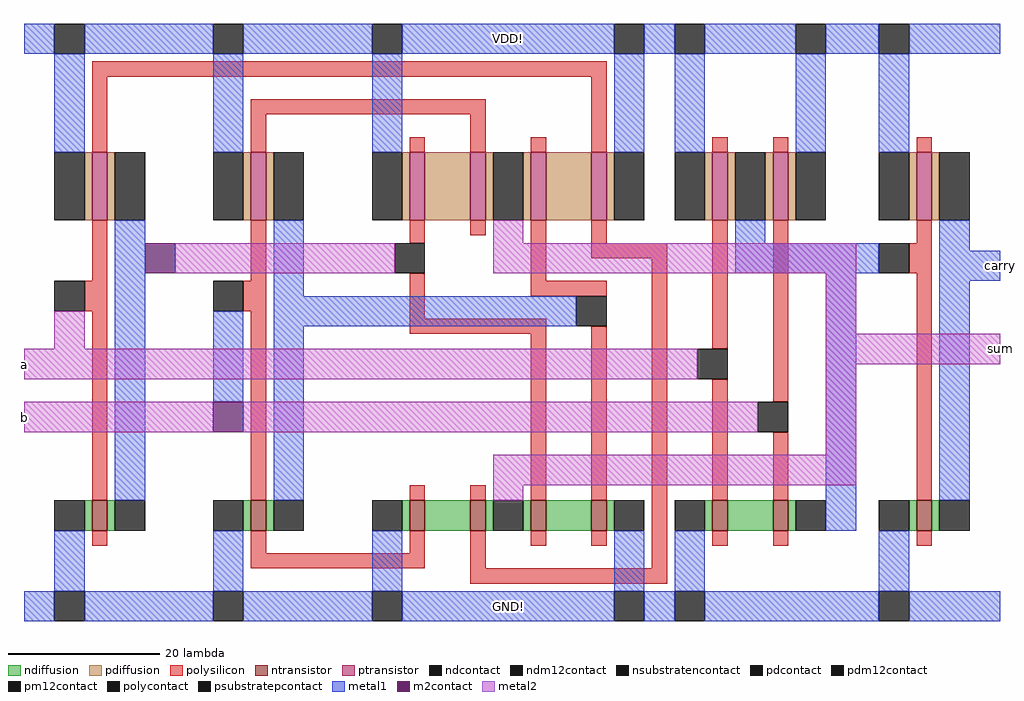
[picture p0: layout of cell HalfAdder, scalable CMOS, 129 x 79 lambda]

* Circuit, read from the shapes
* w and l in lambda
.subckt HalfAdder GND! VDD! a b carry sum
M1 n1 a GND! GND! nfet w=4 l=2
M2 n2 b GND! GND! nfet w=4 l=2
M3 n3 b GND! GND! nfet w=4 l=2
M4 sum a n3 GND! nfet w=4 l=2
M5 n4 n1 sum GND! nfet w=4 l=2
M6 GND! n2 n4 GND! nfet w=4 l=2
M7 n5 a GND! GND! nfet w=4 l=2
M8 n6 b n5 GND! nfet w=4 l=2
M9 carry n6 GND! GND! nfet w=4 l=2
M10 n1 a VDD! VDD! pfet w=9 l=2
M11 n2 b VDD! VDD! pfet w=9 l=2
M12 n7 n1 VDD! VDD! pfet w=9 l=2
M13 sum b n7 VDD! pfet w=9 l=2
M14 n8 n2 sum VDD! pfet w=9 l=2
M15 VDD! a n8 VDD! pfet w=9 l=2
M16 n6 a VDD! VDD! pfet w=9 l=2
M17 VDD! b n6 VDD! pfet w=9 l=2
M18 carry n6 VDD! VDD! pfet w=9 l=2
.ends

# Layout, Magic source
magic
tech scmos
<< ntransistor >>
rect -23 0 -21 4
rect -2 0 0 4
rect 19 0 21 4
rect 27 0 29 4
rect 35 0 37 4
rect 43 0 45 4
rect 59 0 61 4
rect 67 0 69 4
rect 86 0 88 4
<< ptransistor >>
rect -23 41 -21 50
rect -2 41 0 50
rect 19 41 21 50
rect 27 41 29 50
rect 35 41 37 50
rect 43 41 45 50
rect 59 41 61 50
rect 67 41 69 50
rect 86 41 88 50
<< ndiffusion >>
rect -24 0 -23 4
rect -21 0 -20 4
rect -3 0 -2 4
rect 0 0 1 4
rect 18 0 19 4
rect 21 0 27 4
rect 29 0 30 4
rect 34 0 35 4
rect 37 0 43 4
rect 45 0 46 4
rect 58 0 59 4
rect 61 0 67 4
rect 69 0 70 4
rect 85 0 86 4
rect 88 0 89 4
<< pdiffusion >>
rect -24 41 -23 50
rect -21 41 -20 50
rect -3 41 -2 50
rect 0 41 1 50
rect 18 41 19 50
rect 21 41 27 50
rect 29 41 30 50
rect 34 41 35 50
rect 37 41 43 50
rect 45 41 46 50
rect 58 41 59 50
rect 61 41 62 50
rect 66 41 67 50
rect 69 41 70 50
rect 85 41 86 50
rect 88 41 89 50
<< ndcontact >>
rect -28 0 -24 4
rect -20 0 -16 4
rect -7 0 -3 4
rect 1 0 5 4
rect 14 0 18 4
rect 46 0 50 4
rect 54 0 58 4
rect 70 0 74 4
rect 81 0 85 4
rect 89 0 93 4
<< pdcontact >>
rect -28 41 -24 50
rect -20 41 -16 50
rect -7 41 -3 50
rect 1 41 5 50
rect 14 41 18 50
rect 46 41 50 50
rect 54 41 58 50
rect 62 41 66 50
rect 70 41 74 50
rect 81 41 85 50
rect 89 41 93 50
<< psubstratepcontact >>
rect -28 -12 -24 -8
rect -7 -12 -3 -8
rect 14 -12 18 -8
rect 46 -12 50 -8
rect 54 -12 58 -8
rect 81 -12 85 -8
<< nsubstratencontact >>
rect -28 63 -24 67
rect -7 63 -3 67
rect 14 63 18 67
rect 46 63 50 67
rect 54 63 58 67
rect 70 63 74 67
rect 81 63 85 67
<< polysilicon >>
rect -23 60 45 62
rect -23 50 -21 60
rect -2 55 29 57
rect -2 50 0 55
rect 19 50 21 52
rect 27 50 29 55
rect 35 50 37 52
rect 43 50 45 60
rect 59 50 61 52
rect 67 50 69 52
rect 86 50 88 52
rect -23 33 -21 41
rect -2 33 0 41
rect 19 38 21 41
rect 27 39 29 41
rect -24 29 -21 33
rect -3 29 0 33
rect -23 4 -21 29
rect -2 4 0 29
rect 19 28 21 34
rect 35 33 37 41
rect 43 38 45 41
rect 43 36 53 38
rect 35 31 45 33
rect 19 26 37 28
rect 19 4 21 6
rect 27 4 29 6
rect 35 4 37 26
rect 43 4 45 27
rect -23 -2 -21 0
rect -2 -3 0 0
rect 19 -3 21 0
rect -2 -5 21 -3
rect 27 -5 29 0
rect 35 -2 37 0
rect 43 -2 45 0
rect 51 -5 53 36
rect 59 24 61 41
rect 59 4 61 20
rect 67 17 69 41
rect 86 38 88 41
rect 85 34 88 38
rect 67 4 69 13
rect 86 4 88 34
rect 59 -2 61 0
rect 67 -2 69 0
rect 86 -2 88 0
rect 27 -7 53 -5
<< polycontact >>
rect -7 29 -3 33
rect 41 27 45 31
rect 81 34 85 38
<< metal1 >>
rect -32 63 -28 67
rect -24 63 -7 67
rect -3 63 14 67
rect 18 63 46 67
rect 50 63 54 67
rect 58 63 70 67
rect 74 63 81 67
rect 85 63 97 67
rect -28 50 -24 63
rect -7 50 -3 63
rect 14 50 18 63
rect 46 50 50 63
rect 54 50 58 63
rect 70 50 74 63
rect 81 50 85 63
rect -20 4 -16 41
rect -7 17 -3 29
rect 1 31 5 41
rect 62 38 66 41
rect 62 34 81 38
rect 89 37 93 41
rect 1 27 41 31
rect 1 4 5 27
rect -28 -8 -24 0
rect -7 -8 -3 0
rect 14 -8 18 0
rect 46 -8 50 0
rect 74 0 78 34
rect 89 33 97 37
rect 89 4 93 33
rect 54 -8 58 0
rect 81 -8 85 0
rect -32 -12 -28 -8
rect -24 -12 -7 -8
rect -3 -12 14 -8
rect 18 -12 46 -8
rect 50 -12 54 -8
rect 58 -12 81 -8
rect 85 -12 97 -8
<< m2contact >>
rect -16 34 -12 38
rect -7 13 -3 17
<< pm12contact >>
rect -28 29 -24 33
rect 17 34 21 38
rect 57 20 61 24
rect 65 13 69 17
<< pdm12contact >>
rect 30 41 34 50
<< ndm12contact >>
rect 30 0 34 4
<< metal2 >>
rect 30 38 34 41
rect -12 34 17 38
rect 30 34 78 38
rect -28 24 -24 29
rect 74 26 78 34
rect -32 20 57 24
rect 74 22 97 26
rect -32 13 -7 17
rect -3 13 65 17
rect 74 10 78 22
rect 30 6 78 10
rect 30 4 34 6
<< labels >>
rlabel metal1 97 33 97 37 7 carry
rlabel metal2 -32 20 -32 24 3 a
rlabel metal2 -32 13 -32 17 3 b
rlabel metal2 97 22 97 26 7 sum
rlabel metal1 32 65 32 65 5 VDD!
rlabel metal1 32 -10 32 -10 1 GND!
<< end >>
